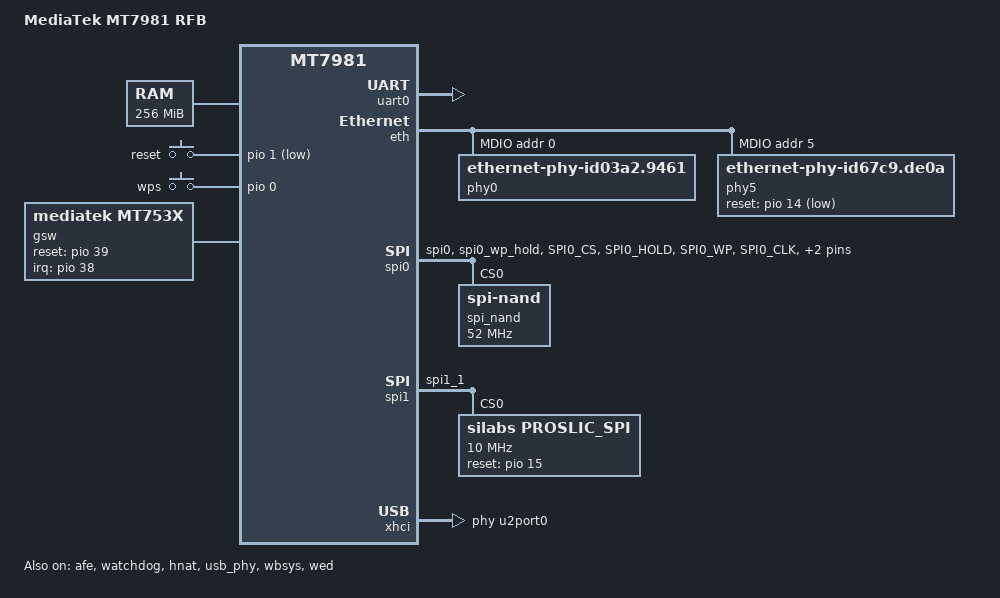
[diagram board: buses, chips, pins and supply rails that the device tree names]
/dts-v1/;
#include <dt-bindings/gpio/gpio.h>
#include <dt-bindings/pinctrl/mt65xx.h>
#include <dt-bindings/input/input.h>
#include "mt7981.dtsi"
/ {
	model = "MediaTek MT7981 RFB";
	compatible = "mediatek,mt7981-spim-snand-rfb", "mediatek,mt7981";

	chosen {
		bootargs = "console=ttyS0,115200n1 loglevel=8 earlycon=uart8250,mmio32,0x11002000";
	};

	memory@40000000 {
		device_type = "memory";
		reg = <0 0x40000000 0 0x10000000>;
	};

	gpio-keys {
		compatible = "gpio-keys";

		reset {
			label = "reset";
			linux,code = <KEY_RESTART>;
			gpios = <&pio 1 GPIO_ACTIVE_LOW>;
		};

		wps {
			label = "wps";
			linux,code = <KEY_WPS_BUTTON>;
			gpios = <&pio 0 GPIO_ACTIVE_HIGH>;
		};
	};

	nmbm_spim_nand {
		compatible = "generic,nmbm";
		lower-mtd-device = <&spi_nand>;
		forced-create;

		partitions {
			compatible = "fixed-partitions";
			#address-cells = <1>;
			#size-cells = <1>;

			partition@0 {
				label = "BL2";
				reg = <0x00000 0x0100000>;
				read-only;
			};

			partition@100000 {
				label = "u-boot-env";
				reg = <0x0100000 0x0080000>;
			};

			factory: partition@180000 {
				label = "Factory";
				reg = <0x180000 0x0200000>;
			};

			partition@380000 {
				label = "FIP";
				reg = <0x380000 0x0200000>;
			};

			partition@580000 {
				label = "ubi";
				reg = <0x580000 0x4000000>;
			};
		};
	};

	sound_wm8960 {
		compatible = "mediatek,mt79xx-wm8960-machine";
		mediatek,platform = <&afe>;
		audio-routing = "Headphone", "HP_L",
				"Headphone", "HP_R",
				"LINPUT1", "AMIC",
				"RINPUT1", "AMIC";
		mediatek,audio-codec = <&wm8960>;
		status = "disabled";
	};

	sound_si3218x {
		compatible = "mediatek,mt79xx-si3218x-machine";
		mediatek,platform = <&afe>;
		mediatek,ext-codec = <&proslic_spi>;
		status = "disabled";
	};

	gsw: gsw-sgmii0 {
		compatible = "mediatek,mt753x";
		#address-cells = <1>;
		#size-cells = <0>;
		mediatek,ethsys = <&ethsys>;
	};
};

&uart0 {
	status = "okay";
};

&afe {
	pinctrl-names = "default";
	pinctrl-0 = <&pcm_pins>;
	status = "okay";
};

&i2c0 {
	pinctrl-names = "default";
	pinctrl-0 = <&i2c_pins_g0>;
	status = "disabled";

	wm8960: wm8960@1a {
		compatible = "wlf,wm8960";
		reg = <0x1a>;
	};
};

&watchdog {
	status = "okay";
};

&eth {
	status = "okay";
	mediatek,gsw = <&gsw>;

	gmac0: mac@0 {
		compatible = "mediatek,eth-mac";
		reg = <0>;
		phy-mode = "2500base-x";

		fixed-link {
			speed = <2500>;
			full-duplex;
			pause;
			link-gpio = <&pio 38 0>;
			phy-handle = <&phy5>;
			label = "lan5";
		};
	};

	gmac1: mac@1 {
		compatible = "mediatek,eth-mac";
		reg = <1>;
		phy-mode = "gmii";
		phy-handle = <&phy0>;
	};

	mdio: mdio-bus {
		#address-cells = <1>;
		#size-cells = <0>;

		phy0: ethernet-phy@0 {
			compatible = "ethernet-phy-id03a2.9461";
			reg = <0>;
			phy-mode = "gmii";
			nvmem-cells = <&phy_calibration>;
			nvmem-cell-names = "phy-cal-data";
		};

		phy5: phy@5 {
			compatible = "ethernet-phy-id67c9.de0a";
			reg = <5>;
			reset-gpios = <&pio 14 1>;
			reset-assert-us = <1000>;
			reset-deassert-us = <20000>;
		};
	};
};

&gsw {
	mediatek,mdio = <&mdio>;
	mediatek,portmap = "llllw";
	mediatek,mdio_master_pinmux = <1>;
	reset-gpios = <&pio 39 0>;
	interrupt-parent = <&pio>;
	interrupts = <38 IRQ_TYPE_LEVEL_HIGH>;
	status = "okay";

	port5: port@5 {
		compatible = "mediatek,mt753x-port";
		reg = <5>;
		phy-mode = "sgmii";

		fixed-link {
			speed = <2500>;
			full-duplex;
		};
	};

	port6: port@6 {
		compatible = "mediatek,mt753x-port";
		reg = <6>;
		phy-mode = "sgmii";

		fixed-link {
			speed = <2500>;
			full-duplex;
			pause;
		};
	};
};

&hnat {
	mtketh-wan = "eth1";
	mtketh-lan = "eth0";
	mtketh-max-gmac = <2>;
	status = "okay";
};

&spi0 {
	pinctrl-names = "default";
	pinctrl-0 = <&spi0_flash_pins>;
	status = "okay";

	spi_nand: spi_nand@0 {
		compatible = "spi-nand";
		reg = <0>;
		spi-max-frequency = <52000000>;
		spi-tx-bus-width = <4>;
		spi-rx-bus-width = <4>;
	};
};

&spi1 {
	pinctrl-names = "default";
	pinctrl-0 = <&spic_pins_g1>;
	status = "okay";

	proslic_spi: proslic_spi@0 {
		compatible = "silabs,proslic_spi";
		reg = <0>;
		spi-max-frequency = <10000000>;
		spi-cpha = <1>;
		spi-cpol = <1>;
		channel_count = <1>;
		debug_level = <4>;       /* 1 = TRC, 2 = DBG, 4 = ERR */
		reset_gpio = <&pio 15 0>;
		ig,enable-spi = <1>;     /* 1: Enable, 0: Disable */
	};
};

&pcie {
	pinctrl-names = "default";
	pinctrl-0 = <&pcie_pins>;
	status = "disabled";
};

&usb_phy {
	status = "okay";
};

&xhci {
	mediatek,u3p-dis-msk = <0x0>;
	phys = <&u2port0 PHY_TYPE_USB2>,
	       <&u3port0 PHY_TYPE_USB3>;
	status = "okay";
};

&wbsys {
	mediatek,mtd-eeprom = <&factory 0x0000>;
	pinctrl-names = "default";
	pinctrl-0 = <&wf_dbdc_pins>;
	status = "okay";
};

&wed {
	status = "okay";
};

&wed_pcie {
	status = "disabled";
};

&pio {
	jtag_pins: jtag-pins-4-to-8 {
		mux {
			function = "jtag";
			groups = "jtag";
		};
	};

	uart2_pins_g0: uart2-pins-4-to-7 {
		mux {
			function = "uart";
			groups = "uart2_0";
		};
	};

	spic_pins_g0: spi1-pins-4-to-7 {
		mux {
			function = "spi";
			groups = "spi1_0";
		};
	};

	i2c_pins_g0: i2c-pins-6-7 {
		mux {
			function = "i2c";
			groups = "i2c0_0";
		};
	};

	pwm2_pin: pwm2-pin-7 {
		mux {
			function = "pwm";
			groups = "pwm2";
		};
	};

	pwm0_pin_g0: pwm0-pin-13 {
		mux {
			function = "pwm";
			groups = "pwm0_0";
		};
	};

	pwm1_pin_g0: pwm1-pin-14 {
		mux {
			function = "pwm";
			groups = "pwm1_0";
		};
	};

	pwm0_pin_g1: pwm0-pin-15 {
		mux {
			function = "pwm";
			groups = "pwm0_1";
		};
	};

	pwm1_pin_g1: pwm1-pin-15 {
		mux {
			function = "pwm";
			groups = "pwm1_1";
		};
	};

	pcm_pins: pcm-pins-9-to-13 {
		mux {
			function = "pcm";
			groups = "pcm";
		};
	};

	spi0_flash_pins: spi0-pins-16-to-21 {
		mux {
			function = "spi";
			groups = "spi0", "spi0_wp_hold";
		};

		conf-pu {
			pins = "SPI0_CS", "SPI0_HOLD", "SPI0_WP";
			drive-strength = <MTK_DRIVE_8mA>;
			mediatek,pull-up-adv = <3>;	/* pull-up 75k */
		};

		conf-pd {
			pins = "SPI0_CLK", "SPI0_MOSI", "SPI0_MISO";
			drive-strength = <MTK_DRIVE_8mA>;
			mediatek,pull-down-adv = <3>;	/* pull-down 75k */
		};
	};

	spic_pins_g1: spi1-pins-22-to-25 {
		mux {
			function = "spi";
			groups = "spi1_1";
		};
	};

	uart2_pins_g1: uart2-pins-22-to-25 {
		mux {
			function = "uart";
			groups = "uart2_1";
		};
	};

	uart1_pins_g1: uart1-pins-26-to-29 {
		mux {
			function = "uart";
			groups = "uart1_1";
		};
	};

	i2c_pins_g1: i2c-pins-30-31 {
		mux {
			function = "i2c";
			groups = "i2c0_1";
		};
	};

	wf_led_pins_g1: wf-led-pins-30-31 {
		mux {
			function = "led";
			groups = "wf2g_led1", "wf5g_led1";
		};
	};

	wf_led_pins_g0: wf-led-pins-34-35 {
		mux {
			function = "led";
			groups = "wf2g_led0", "wf5g_led0";
		};
	};

	pcie_pins: pcie-pins-3-34-35 {
		mux {
			function = "pcie";
			groups = "pcie_clk", "pcie_wake", "pcie_pereset";
		};
	};

	wf_dbdc_pins: wf-dbdc-pins {
		mux {
			function = "eth";
			groups = "wf0_mode1";
		};

		conf {
			pins = "WF_HB1", "WF_HB2", "WF_HB3", "WF_HB4",
			       "WF_HB0", "WF_HB0_B", "WF_HB5", "WF_HB6",
			       "WF_HB7", "WF_HB8", "WF_HB9", "WF_HB10",
			       "WF_TOP_CLK", "WF_TOP_DATA", "WF_XO_REQ",
			       "WF_CBA_RESETB", "WF_DIG_RESETB";
			drive-strength = <MTK_DRIVE_4mA>;
		};
	};
};
